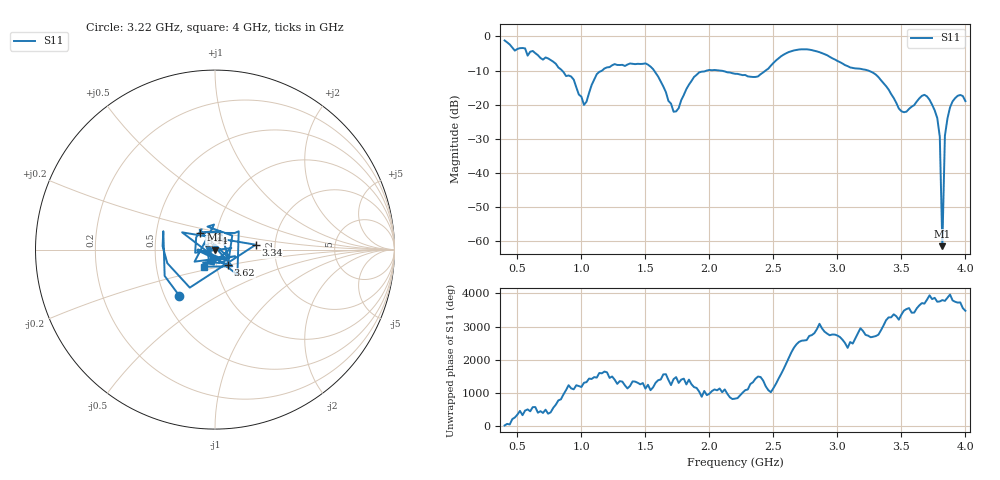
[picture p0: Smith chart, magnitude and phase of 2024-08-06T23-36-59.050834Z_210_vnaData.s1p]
!Created with skrf (http://scikit-rf.org).
# Hz S RI R 50.0
!freq ReS11 ImS11
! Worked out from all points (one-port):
!   181 points, 400 MHz to 4 GHz, reference 50 ohm
!   lowest |S11| = -61.4 dB at 3.82 GHz (marker M1), VSWR 1.00, Z = 49.9 - j0.0274 ohm
!   |S11| at or under -10 dB: 1.568 GHz to 1.98 GHz (412.8 MHz wide, 23.3 % of centre); 2.077 GHz to 2.439 GHz (361.9 MHz wide, 16 % of centre); 3.241 GHz to end of sweep (the widest 3 of 4)
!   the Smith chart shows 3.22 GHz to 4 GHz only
!   S11 on the Smith chart (normalised r, x): 3.22 GHz: 0.59, -0.34; 3.34 GHz: 1.58, +0.09; 3.44 GHz: 0.83, +0.16; 3.62 GHz: 1.14, -0.20; 4 GHz: 0.87, -0.17
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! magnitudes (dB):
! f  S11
! 400 MHz  -1.2
! 860 MHz  -10.4
! 940 MHz  -12.7
! 1.02 GHz  -20.1
! 1.12 GHz  -11.1
! 1.3 GHz  -8.4
! 1.52 GHz  -8.3
! 1.72 GHz  -22.0
! 1.76 GHz  -21.0
! 1.92 GHz  -10.5
! 2.2 GHz  -10.9
! 2.38 GHz  -11.7
! 2.66 GHz  -4.1
! 3.1 GHz  -9.1
! 3.22 GHz  -9.8
! 3.34 GHz  -12.8
! 3.44 GHz  -18.0
! 3.5 GHz  -21.9
! 3.56 GHz  -21.2
! 3.62 GHz  -19.1
! 3.7 GHz  -17.6
! 3.78 GHz  -23.9
! 3.8 GHz  -29.4
! 3.82 GHz  -61.4
! 3.84 GHz  -29.1
! 3.86 GHz  -24.0
! 3.92 GHz  -18.1
! 4 GHz  -18.9
